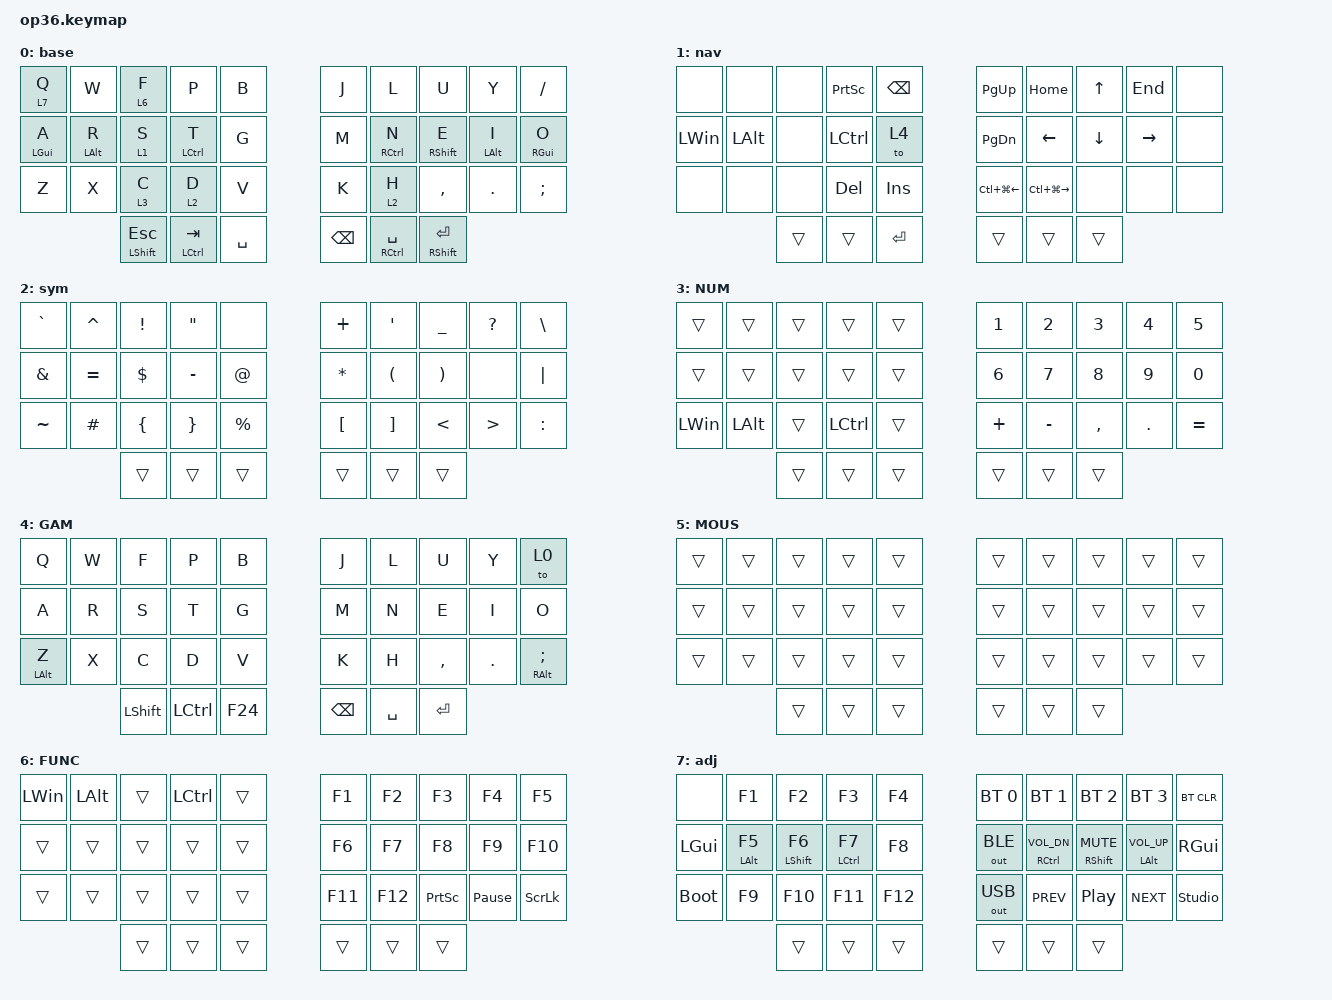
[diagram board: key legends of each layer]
#include "keys_ru.h"
#include <behaviors.dtsi>
#include <dt-bindings/zmk/bt.h>
#include <dt-bindings/zmk/keys.h>
#include <dt-bindings/zmk/outputs.h>

&mt {
    quick-tap-ms = <200>;
    flavor = "tap-preferred";
    require-prior-idle-ms = <125>;
};

/ {
    behaviors {
        hml: home_row_mod_left {
            compatible = "zmk,behavior-hold-tap";
            #binding-cells = <2>;
            flavor = "tap-preferred";
            require-prior-idle-ms = <150>;
            tapping-term-ms = <280>;
            quick-tap-ms = <175>;
            bindings = <&kp>, <&kp>;

            hold-trigger-key-positions = <5 6 7 8 9 15 16 17 18 19 25 26 27 28 29 33 34 35>;
            hold-trigger-on-release;
        };

        hmr: home_row_mod_right {
            compatible = "zmk,behavior-hold-tap";
            #binding-cells = <2>;
            flavor = "tap-preferred";
            require-prior-idle-ms = <150>;
            tapping-term-ms = <280>;
            quick-tap-ms = <175>;
            bindings = <&kp>, <&kp>;

            hold-trigger-key-positions = <0 1 2 3 4 10 11 12 13 14 20 21 22 23 24 30 31 32>;
            hold-trigger-on-release;
        };
    };

    combos {
        compatible = "zmk,combos";

        kha {
            bindings = <&kp LBKT>;
            key-positions = <6 7>;
        };

        hrdsgn {
            bindings = <&kp RBKT>;
            key-positions = <7 8>;
        };
    };

    keymap {
        compatible = "zmk,keymap";

        base {
            bindings = <
  &lt 7 Q      &kp W        &lt 6 F  &kp P          &kp B                                             &kp J            &kp L            &kp U         &kp Y        &kp FSLH
  &hml LGUI A  &hml LALT R  &lt 1 S  &hml LCTRL T   &kp G                                             &kp M            &hmr RCTRL N     &hmr RSHFT E  &hmr LALT I  &hmr RGUI O
  &kp Z        &kp X        &lt 3 C  &lt 2 D        &kp V                                             &kp K            &lt 2 H          &kp COMMA     &kp DOT      &kp SEMI
                                     &mt LSHFT ESC  &mt LEFT_CONTROL TAB  &kp SPACE    &kp BACKSPACE  &mt RCTRL SPACE  &mt RSHFT ENTER
            >;
        };

        nav {
            bindings = <
  &none     &none     &none  &kp PRINTSCREEN  &kp BACKSPACE                       &kp PAGE_UP       &kp HOME           &kp UP          &kp END          &none
  &kp LWIN  &kp LALT  &none  &kp LCTRL        &to 4                               &kp PAGE_DOWN     &kp LEFT_ARROW     &kp DOWN_ARROW  &kp RIGHT_ARROW  &none
  &none     &none     &none  &kp DELETE       &kp INS                             &kp LC(LG(LEFT))  &kp LC(LG(RIGHT))  &none           &none            &none
                             &trans           &trans         &kp ENTER    &trans  &trans            &trans
            >;
        };

        sym {
            bindings = <
  &kp GRAVE      &kp CARET  &kp EXCL        &kp DQT          &none                          &kp PLUS   &kp SINGLE_QUOTE  &kp UNDER  &kp QMARK  &kp BSLH
  &kp AMPERSAND  &kp EQUAL  &kp DOLLAR      &kp MINUS        &kp AT_SIGN                    &kp ASTRK  &kp LPAR          &kp RPAR   &none      &kp PIPE
  &kp TILDE      &kp HASH   &kp LEFT_BRACE  &kp RIGHT_BRACE  &kp PRCNT                      &kp LBKT   &kp RBKT          &kp LT     &kp GT     &kp COLON
                                            &trans           &trans       &trans    &trans  &trans     &trans
            >;
        };

        NUM {
            bindings = <
  &trans    &trans    &trans  &trans     &trans                    &kp N1    &kp N2     &kp N3     &kp N4   &kp N5
  &trans    &trans    &trans  &trans     &trans                    &kp N6    &kp N7     &kp N8     &kp N9   &kp N0
  &kp LWIN  &kp LALT  &trans  &kp LCTRL  &trans                    &kp PLUS  &kp MINUS  &kp COMMA  &kp DOT  &kp EQUAL
                              &trans     &trans  &trans    &trans  &trans    &trans
            >;
        };

        GAM {
            bindings = <
  &kp Q       &kp W  &kp F  &kp P      &kp B                           &kp J      &kp L      &kp U      &kp Y    &to 0
  &kp A       &kp R  &kp S  &kp T      &kp G                           &kp M      &kp N      &kp E      &kp I    &kp O
  &mt LALT Z  &kp X  &kp C  &kp D      &kp V                           &kp K      &kp H      &kp COMMA  &kp DOT  &mt RALT SEMI
                            &kp LSHFT  &kp LCTRL  &kp F24    &kp BSPC  &kp SPACE  &kp ENTER
            >;
        };

        MOUS {
            bindings = <
  &trans  &trans  &trans  &trans  &trans                    &trans  &trans  &trans  &trans  &trans
  &trans  &trans  &trans  &trans  &trans                    &trans  &trans  &trans  &trans  &trans
  &trans  &trans  &trans  &trans  &trans                    &trans  &trans  &trans  &trans  &trans
                          &trans  &trans  &trans    &trans  &trans  &trans
            >;
        };

        FUNC {
            bindings = <
  &kp LWIN  &kp LALT  &trans  &kp LCTRL  &trans                    &kp F1   &kp F2   &kp F3           &kp F4           &kp F5
  &trans    &trans    &trans  &trans     &trans                    &kp F6   &kp F7   &kp F8           &kp F9           &kp F10
  &trans    &trans    &trans  &trans     &trans                    &kp F11  &kp F12  &kp PRINTSCREEN  &kp PAUSE_BREAK  &kp SCROLLLOCK
                              &trans     &trans  &trans    &trans  &trans   &trans
            >;
        };

        adj {
            bindings = <
  &none        &kp F1        &kp F2         &kp F3         &kp F4                     &bt BT_SEL 0  &bt BT_SEL 1         &bt BT_SEL 2       &bt BT_SEL 3        &bt BT_CLR
  &kp LGUI     &hml LALT F5  &hml LSHFT F6  &hml LCTRL F7  &kp F8                     &out OUT_BLE  &hmr RCTRL C_VOL_DN  &hmr RSHFT C_MUTE  &hmr LALT C_VOL_UP  &kp RGUI
  &bootloader  &kp F9        &kp F10        &kp F11        &kp F12                    &out OUT_USB  &kp C_PREV           &kp C_PP           &kp C_NEXT          &studio_unlock
                                            &trans         &trans   &trans    &trans  &trans        &trans
            >;
        };
    };
};
